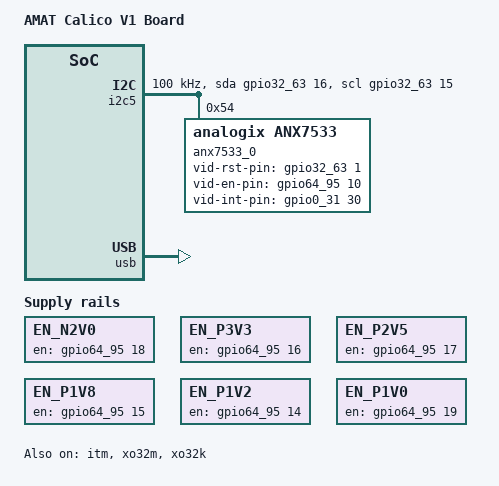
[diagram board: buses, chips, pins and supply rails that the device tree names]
/dts-v1/;
#include <ambiq/ambiq_apollo4p_blue.dtsi>
#include "calico-pinctrl.dtsi"

/ {
	model = "AMAT Calico V1 Board";
	compatible = "amat,calico";

	chosen {
		zephyr,itcm = &tcm;
		zephyr,sram = &sram0;
		zephyr,flash = &flash0;
		zephyr,flash-controller = &flash;
	};

	/* Regulators */
	ap_pwr_2v0_en {
		compatible = "regulator-fixed";
		regulator-name = "EN_N2V0";
		enable-gpios = <&gpio64_95 18 GPIO_ACTIVE_HIGH>;
	};
	ap_pwr_3v3_en {
		compatible = "regulator-fixed";
		regulator-name = "EN_P3V3";
		enable-gpios = <&gpio64_95 16 GPIO_ACTIVE_HIGH>;
		regulator-boot-on;
	};
	ap_pwr_2v5_en {
		compatible = "regulator-fixed";
		regulator-name = "EN_P2V5";
		enable-gpios = <&gpio64_95 17 GPIO_ACTIVE_HIGH>;
	};
	ap_pwr_1v8_en {
		compatible = "regulator-fixed";
		regulator-name = "EN_P1V8";
		enable-gpios = <&gpio64_95 15 GPIO_ACTIVE_HIGH>;
		regulator-boot-on;
	};
	ap_pwr_1v2_en {
		compatible = "regulator-fixed";
		regulator-name = "EN_P1V2";
		enable-gpios = <&gpio64_95 14 GPIO_ACTIVE_HIGH>;
	};
	ap_pwr_1v0_en {
		compatible = "regulator-fixed";
		regulator-name = "EN_P1V0";
		enable-gpios = <&gpio64_95 19 GPIO_ACTIVE_HIGH>;
		regulator-boot-on;
	};
};

&flash0 {
	erase-block-size = <2048>;
	write-block-size = <16>;

	partitions {
		compatible = "fixed-partitions";
		#address-cells = <1>;
		#size-cells = <1>;

	};
};

&itm {
	pinctrl-0 = <&itm_default>;
	pinctrl-names = "default";
	status = "okay";
};

&stimer0 {
	clk-source = <3>;
};

&i2c5 {
	pinctrl-0 = <&i2c5_default>;
	pinctrl-names = "default";
	clock-frequency = <I2C_BITRATE_STANDARD>;
	scl-gpios = <&gpio32_63 15 (GPIO_OPEN_DRAIN | GPIO_PULL_UP)>;
	sda-gpios = <&gpio32_63 16 (GPIO_OPEN_DRAIN | GPIO_PULL_UP)>;

	anx7533_0@54 {
		compatible = "analogix,anx7533";
		vid-rst-pin-gpios = <&gpio32_63 1 GPIO_ACTIVE_HIGH>;
		vid-en-pin-gpios = <&gpio64_95 10 GPIO_ACTIVE_HIGH>;
		vid-int-pin-gpios = <&gpio0_31 30 (GPIO_PULL_UP | GPIO_ACTIVE_HIGH)>;
		reg = <0x54>;
		reg-offset = <0x52>;
		reg-offset-rd = <0x53>;
		status = "okay";
	};
	status = "okay";
};

&xo32m {
	pinctrl-0 = <&xo32m_default>;
	pinctrl-names = "default";
	status = "okay";
};

&xo32k {
	pinctrl-0 = <&xo32k_default>;
	pinctrl-names = "default";
	status = "okay";
};

zephyr_udc0: &usb {
	vddusb33-gpios = <&gpio0_31 13 (GPIO_PULL_UP)>;
	vddusb0p9-gpios = <&gpio0_31 15 (GPIO_PULL_UP)>;
	status = "okay";
};

&gpio0_31 {
	status = "okay";
};

&gpio32_63 {
	status = "okay";
};

&gpio64_95 {
	status = "okay";
};

&gpio96_127 {
	status = "okay";
};

